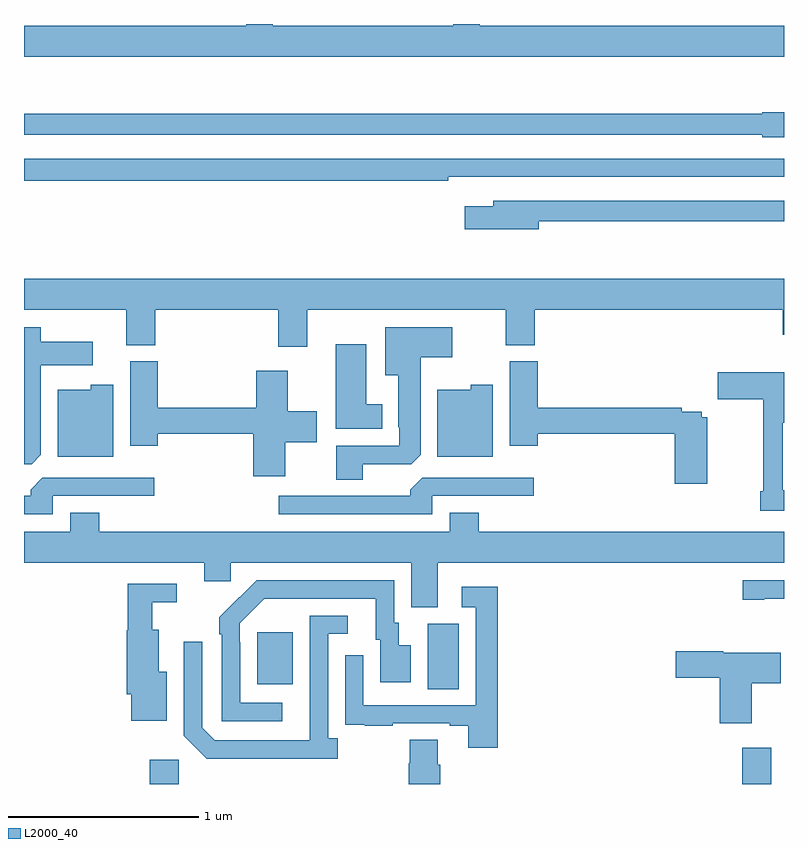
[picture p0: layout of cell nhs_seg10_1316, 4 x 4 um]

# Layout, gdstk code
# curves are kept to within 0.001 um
import gdstk
lib = gdstk.Library(unit=1e-6, precision=1e-09)
def R(c, l, rs):  # rectangles x0, y0, x1, y1
    for r in rs: c.add(gdstk.rectangle(r[:2], r[2:], *l))
def P(c, l, *ps):  # polygons
    for p in ps: c.add(gdstk.Polygon(p, *l))
L2000_40 = (2000, 40)

nhs_seg10_1316 = lib.new_cell('nhs_seg10_1316')
R(nhs_seg10_1316, L2000_40, [(179.663,1284.5,179.814,1284.628), (182.78,1284.5,182.932,1284.691), (181.124,1285,181.288,1285.344), (180.227,1285.025,180.415,1285.3)])
P(nhs_seg10_1316, L2000_40, [(183,1288.492),(181.399,1288.492),(181.399,1288.5),(181.259,1288.5),(181.259,1288.492),(180.309,1288.492),(180.309,1288.5),(180.17,1288.5),(180.17,1288.492),(179,1288.492),(179,1288.328),(183,1288.328)],
  [(183,1288.035),(182.886,1288.035),(182.886,1288.027),(179,1288.027),(179,1287.918),(182.886,1287.918),(182.886,1287.905),(183,1287.905)],
  [(181.232,1287.696),(183,1287.696),(183,1287.792),(179,1287.792),(179,1287.676),(181.232,1287.676)],
  [(181.708,1287.462),(183,1287.462),(183,1287.57),(181.469,1287.57),(181.469,1287.541),(181.32,1287.541),(181.32,1287.419),(181.708,1287.419)],
  [(180.49,1286.996),(181.535,1286.996),(181.535,1286.809),(181.688,1286.809),(181.688,1286.996),(182.993,1286.996),(182.993,1286.865),(183,1286.865),(183,1287.16),(179,1287.16),(179,1286.996),(179.537,1286.996),(179.537,1286.809),(179.69,1286.809),(179.69,1286.996),(180.338,1286.996),(180.338,1286.802),(180.49,1286.802)],
  [(180.784,1286.184),(181.038,1286.184),(181.087,1286.233),(181.087,1286.747),(181.255,1286.747),(181.255,1286.905),(180.902,1286.905),(180.902,1286.651),(180.971,1286.651),(180.971,1286.377),(180.975,1286.377),(180.975,1286.28),(180.644,1286.28),(180.644,1286.101),(180.784,1286.101)],
  [(179.089,1286.233),(179.089,1286.705),(179.362,1286.705),(179.362,1286.827),(179.089,1286.827),(179.089,1286.905),(179,1286.905),(179,1286.184),(179.04,1286.184)],
  [(180.886,1286.5),(180.802,1286.5),(180.802,1286.815),(180.641,1286.815),(180.641,1286.369),(180.886,1286.369)],
  [(182.596,1286.431),(182.566,1286.431),(182.566,1286.46),(182.462,1286.46),(182.462,1286.48),(181.703,1286.48),(181.703,1286.724),(181.556,1286.724),(181.556,1286.28),(181.703,1286.28),(181.703,1286.344),(182.426,1286.344),(182.426,1286.079),(182.596,1286.079)],
  [(180.376,1286.3),(180.541,1286.3),(180.541,1286.463),(180.388,1286.463),(180.388,1286.674),(180.222,1286.674),(180.222,1286.48),(179.705,1286.48),(179.705,1286.724),(179.558,1286.724),(179.558,1286.28),(179.705,1286.28),(179.705,1286.344),(180.206,1286.344),(180.206,1286.121),(180.376,1286.121)],
  [(183,1286.047),(182.993,1286.047),(182.993,1286.402),(183,1286.402),(183,1286.667),(182.652,1286.667),(182.652,1286.525),(182.89,1286.525),(182.89,1286.041),(182.875,1286.041),(182.875,1285.938),(183,1285.938)],
  [(179.47,1286.602),(179.352,1286.602),(179.352,1286.575),(179.177,1286.575),(179.177,1286.222),(179.47,1286.222)],
  [(181.468,1286.602),(181.35,1286.602),(181.35,1286.575),(181.175,1286.575),(181.175,1286.222),(181.468,1286.222)],
  [(179.151,1286.016),(179.686,1286.016),(179.686,1286.112),(179.097,1286.112),(179.036,1286.05),(179.036,1286.016),(179,1286.016),(179,1285.92),(179.151,1285.92)],
  [(181.149,1286.016),(181.684,1286.016),(181.684,1286.112),(181.095,1286.112),(181.034,1286.05),(181.034,1286.016),(180.342,1286.016),(180.342,1285.92),(181.149,1285.92)],
  [(181.177,1285.664),(183,1285.664),(183,1285.828),(181.394,1285.828),(181.394,1285.927),(181.241,1285.927),(181.241,1285.828),(179.396,1285.828),(179.396,1285.927),(179.243,1285.927),(179.243,1285.828),(179,1285.828),(179,1285.664),(179.948,1285.664),(179.948,1285.566),(180.087,1285.566),(180.087,1285.664),(181.037,1285.664),(181.037,1285.429),(181.177,1285.429)],
  [(182.896,1285.476),(183,1285.476),(183,1285.572),(182.784,1285.572),(182.784,1285.471),(182.896,1285.471)],
  [(180.358,1284.927),(180.138,1284.927),(180.138,1285.247),(180.135,1285.247),(180.135,1285.347),(180.264,1285.476),(180.851,1285.476),(180.851,1285.26),(180.875,1285.26),(180.875,1285.035),(181.036,1285.035),(181.036,1285.231),(180.973,1285.231),(180.973,1285.35),(180.948,1285.35),(180.948,1285.572),(180.224,1285.572),(180.027,1285.377),(180.027,1285.289),(180.042,1285.289),(180.042,1284.831),(180.358,1284.831)],
  [(179.752,1285.09),(179.71,1285.09),(179.71,1285.312),(179.674,1285.312),(179.674,1285.457),(179.803,1285.457),(179.803,1285.554),(179.545,1285.554),(179.545,1285.308),(179.54,1285.308),(179.54,1284.972),(179.564,1284.972),(179.564,1284.833),(179.752,1284.833)],
  [(181.493,1285.537),(181.305,1285.537),(181.305,1285.431),(181.377,1285.431),(181.377,1284.915),(180.786,1284.915),(180.786,1285.177),(180.69,1285.177),(180.69,1284.922),(180.691,1284.922),(180.691,1284.813),(180.793,1284.813),(180.793,1284.807),(180.941,1284.807),(180.941,1284.819),(181.241,1284.819),(181.241,1284.807),(181.337,1284.807),(181.337,1284.69),(181.493,1284.69)],
  [(180.652,1284.742),(180.6,1284.742),(180.6,1285.29),(180.703,1285.29),(180.703,1285.386),(180.504,1285.386),(180.503,1284.729),(180.003,1284.729),(179.937,1284.795),(179.937,1285.249),(179.841,1285.249),(179.841,1284.753),(179.962,1284.632),(180.652,1284.632)],
  [(182.83,1285.03),(182.983,1285.03),(182.983,1285.192),(182.679,1285.192),(182.679,1285.2),(182.43,1285.2),(182.43,1285.058),(182.663,1285.058),(182.663,1284.819),(182.83,1284.819)],
  [(181.19,1284.602),(181.177,1284.602),(181.177,1284.734),(181.03,1284.734),(181.03,1284.609),(181.025,1284.609),(181.025,1284.5),(181.19,1284.5)])

lib.write_gds('nhs_seg10_1316.gds')
